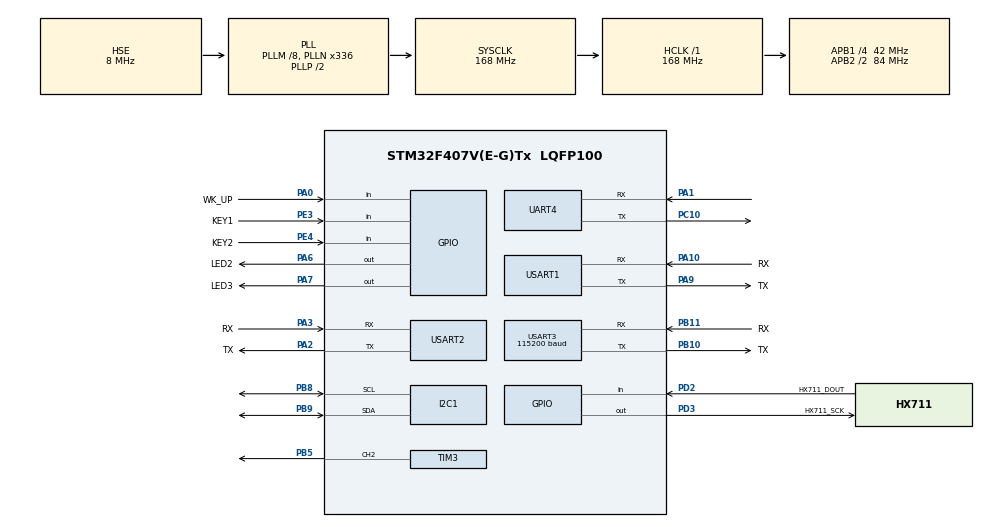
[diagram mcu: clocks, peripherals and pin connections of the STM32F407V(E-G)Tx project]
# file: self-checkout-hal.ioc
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Dma.Request0=USART2_RX
Dma.USART2_RX.0.Direction=DMA_PERIPH_TO_MEMORY
Dma.USART2_RX.0.FIFOMode=DMA_FIFOMODE_DISABLE
Dma.USART2_RX.0.Instance=DMA1_Stream5
Dma.USART2_RX.0.MemDataAlignment=DMA_MDATAALIGN_BYTE
Dma.USART2_RX.0.MemInc=DMA_MINC_ENABLE
Dma.USART2_RX.0.Mode=DMA_CIRCULAR
Dma.USART2_RX.0.PeriphDataAlignment=DMA_PDATAALIGN_BYTE
Dma.USART2_RX.0.PeriphInc=DMA_PINC_DISABLE
Dma.USART2_RX.0.Priority=DMA_PRIORITY_LOW
Mcu.Family=STM32F4
Mcu.Name=STM32F407V(E-G)Tx
Mcu.Package=LQFP100
NVIC.DMA1_Stream5_IRQn=true\:0\:0\:false\:false\:true\:false\:true\:true
NVIC.PriorityGroup=NVIC_PRIORITYGROUP_4
NVIC.UART4_IRQn=true\:0\:0\:false\:false\:true\:true\:true\:true
NVIC.USART2_IRQn=true\:0\:0\:false\:false\:true\:true\:true\:true
PA0-WKUP.GPIO_Label=WK_UP
PA0-WKUP.Signal=GPIO_Input
PA1.Mode=Asynchronous
PA1.Signal=UART4_RX
PA10.GPIO_Label=RX
PA10.Mode=Asynchronous
PA10.Signal=USART1_RX
PA13.Mode=Serial_Wire
PA13.Signal=SYS_JTMS-SWDIO
PA14.Mode=Serial_Wire
PA14.Signal=SYS_JTCK-SWCLK
PA2.GPIO_Label=TX
PA2.Mode=Asynchronous
PA2.Signal=USART2_TX
PA3.GPIO_Label=RX
PA3.Mode=Asynchronous
PA3.Signal=USART2_RX
PA6.GPIO_Label=LED2
PA6.PinState=GPIO_PIN_SET
PA6.Signal=GPIO_Output
PA7.GPIO_Label=LED3
PA7.PinState=GPIO_PIN_SET
PA7.Signal=GPIO_Output
PA9.GPIO_Label=TX
PA9.Mode=Asynchronous
PA9.Signal=USART1_TX
PB10.GPIO_Label=TX
PB10.Mode=Asynchronous
PB10.Signal=USART3_TX
PB11.GPIO_Label=RX
PB11.Mode=Asynchronous
PB11.Signal=USART3_RX
PB5.Signal=S_TIM3_CH2
PB8.GPIO_Pu=GPIO_PULLUP
PB8.Mode=I2C
PB8.Signal=I2C1_SCL
PB9.GPIO_Pu=GPIO_PULLUP
PB9.Mode=I2C
PB9.Signal=I2C1_SDA
PC10.Mode=Asynchronous
PC10.Signal=UART4_TX
PD2.GPIO_Label=HX711_DOUT
PD2.GPIO_PuPd=GPIO_PULLUP
PD2.Signal=GPIO_Input
PD3.GPIO_Label=HX711_SCK
PD3.Signal=GPIO_Output
PE3.GPIO_Label=KEY1
PE3.GPIO_PuPd=GPIO_PULLUP
PE3.Signal=GPIO_Input
PE4.GPIO_Label=KEY2
PE4.GPIO_PuPd=GPIO_PULLUP
PE4.Signal=GPIO_Input
PH0-OSC_IN.Mode=HSE-External-Oscillator
PH0-OSC_IN.Signal=RCC_OSC_IN
PH1-OSC_OUT.Mode=HSE-External-Oscillator
PH1-OSC_OUT.Signal=RCC_OSC_OUT
ProjectManager.HeapSize=0x400
ProjectManager.StackSize=0x400
ProjectManager.TargetToolchain=MDK-ARM V5.32
RCC.48MHZClocksFreq_Value=84000000
RCC.AHBFreq_Value=168000000
RCC.APB1CLKDivider=RCC_HCLK_DIV4
RCC.APB1Freq_Value=42000000
RCC.APB1TimFreq_Value=84000000
RCC.APB2CLKDivider=RCC_HCLK_DIV2
RCC.APB2Freq_Value=84000000
RCC.APB2TimFreq_Value=168000000
RCC.CortexFreq_Value=168000000
RCC.HCLKFreq_Value=168000000
RCC.HSE_VALUE=8000000
RCC.HSI_VALUE=16000000
RCC.LSE_VALUE=32768
RCC.PLLM=8
RCC.PLLN=336
RCC.PLLSourceVirtual=RCC_PLLSOURCE_HSE
RCC.SYSCLKFreq_VALUE=168000000
RCC.SYSCLKSource=RCC_SYSCLKSOURCE_PLLCLK
RCC.VCOOutputFreq_Value=336000000
SH.S_TIM3_CH2.0=TIM3_CH2,PWM Generation2 CH2
TIM3.AutoReloadPreload=TIM_AUTORELOAD_PRELOAD_ENABLE
TIM3.Channel-PWM\ Generation2\ CH2=TIM_CHANNEL_2
TIM3.Period=999
TIM3.Prescaler=83
UART4.VirtualMode=Asynchronous
USART1.VirtualMode=VM_ASYNC
USART2.VirtualMode=VM_ASYNC
USART3.BaudRate=115200
USART3.VirtualMode=VM_ASYNC
VP_TIM3_VS_ClockSourceINT.Mode=Internal
board=custom

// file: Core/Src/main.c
/* USER CODE BEGIN Header */
/**
  ******************************************************************************
  * @file           : main.c
  * @brief          : Main program body
  ******************************************************************************
  * @attention
  *
  * Copyright (c) 2026 STMicroelectronics.
  * All rights reserved.
  *
  * This software is licensed under terms that can be found in the LICENSE file
  * in the root directory of this software component.
  * If no LICENSE file comes with this software, it is provided AS-IS.
  *
  ******************************************************************************
  */
/* USER CODE END Header */
#include "main.h"
#include "dma.h"
#include "i2c.h"
#include "tim.h"
#include "usart.h"
#include "gpio.h"

/* USER CODE BEGIN Includes */
#include <stdio.h>
#include <string.h>
#include "OLED.h"
#include "HX711.h"
#include "PRINTER.h"
#include "BUZZER.h"
#include "PRICE.h"
#include "AI_COMM.h"
#include "KEY.h"
#include "LED.h"
#include "WORKFLOW.h"
/* USER CODE END Includes */

void SystemClock_Config(void);

int main(void)
{

  /* MCU Configuration--------------------------------------------------------*/

  /* Reset of all peripherals, Initializes the Flash interface and the Systick. */
  HAL_Init();

  /* Configure the system clock */
  SystemClock_Config();

  /* Initialize all configured peripherals */
  MX_GPIO_Init();
  MX_DMA_Init();
  MX_I2C1_Init();
  MX_TIM3_Init();
  MX_USART1_UART_Init();
  MX_USART2_UART_Init();
  MX_USART3_UART_Init();
  MX_UART4_Init();
  /* USER CODE BEGIN 2 */
  BUZZER_Init();
  OLED_Init();
  HX711_Init();
  Printer_Init();
  PRICE_Init();
  KEY_Init();
  LED_Init();
  WORKFLOW_Init();
  AI_COMM_Init();
  OLED_Clear();
  HX711_CalibrateZero();

  OLED_ShowString(0, 0, "Self Checkout");
  OLED_ShowString(0, 2, "Welcome!");
  printf("\r\n=== System Start ===\r\n");
  HAL_Delay(1500);
  /* USER CODE END 2 */

  /* Infinite loop */
  while (1)
  {

    /* USER CODE BEGIN 3 */
    KEY_Process();
    WORKFLOW_Process();
    ARM_COMM_Process();

    HAL_Delay(50);       /* 涓诲惊鐜欢鏃?0ms */
  }
  /* USER CODE END 3 */
}

void SystemClock_Config(void)
{
  RCC_OscInitTypeDef RCC_OscInitStruct = {0};
  RCC_ClkInitTypeDef RCC_ClkInitStruct = {0};

  /** Configure the main internal regulator output voltage
  */
  __HAL_RCC_PWR_CLK_ENABLE();
  __HAL_PWR_VOLTAGESCALING_CONFIG(PWR_REGULATOR_VOLTAGE_SCALE1);

  /** Initializes the RCC Oscillators according to the specified parameters
  * in the RCC_OscInitTypeDef structure.
  */
  RCC_OscInitStruct.OscillatorType = RCC_OSCILLATORTYPE_HSE;
  RCC_OscInitStruct.HSEState = RCC_HSE_ON;
  RCC_OscInitStruct.PLL.PLLState = RCC_PLL_ON;
  RCC_OscInitStruct.PLL.PLLSource = RCC_PLLSOURCE_HSE;
  RCC_OscInitStruct.PLL.PLLM = 8;
  RCC_OscInitStruct.PLL.PLLN = 336;
  RCC_OscInitStruct.PLL.PLLP = RCC_PLLP_DIV2;
  RCC_OscInitStruct.PLL.PLLQ = 4;
  if (HAL_RCC_OscConfig(&RCC_OscInitStruct) != HAL_OK)
  {
    Error_Handler();
  }

  /** Initializes the CPU, AHB and APB buses clocks
  */
  RCC_ClkInitStruct.ClockType = RCC_CLOCKTYPE_HCLK|RCC_CLOCKTYPE_SYSCLK
                              |RCC_CLOCKTYPE_PCLK1|RCC_CLOCKTYPE_PCLK2;
  RCC_ClkInitStruct.SYSCLKSource = RCC_SYSCLKSOURCE_PLLCLK;
  RCC_ClkInitStruct.AHBCLKDivider = RCC_SYSCLK_DIV1;
  RCC_ClkInitStruct.APB1CLKDivider = RCC_HCLK_DIV4;
  RCC_ClkInitStruct.APB2CLKDivider = RCC_HCLK_DIV2;

  if (HAL_RCC_ClockConfig(&RCC_ClkInitStruct, FLASH_LATENCY_5) != HAL_OK)
  {
    Error_Handler();
  }
}

void Error_Handler(void)
{
  __disable_irq();
  while (1)
  {
  }
}
